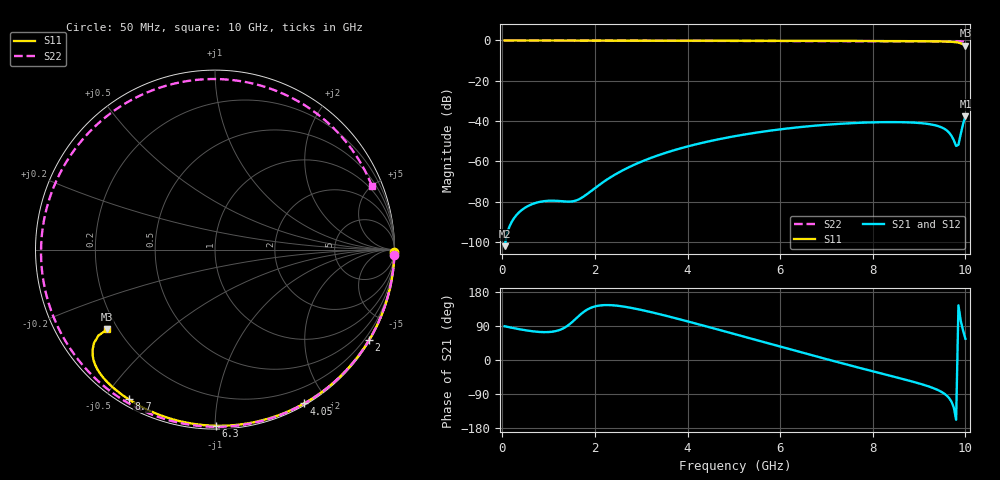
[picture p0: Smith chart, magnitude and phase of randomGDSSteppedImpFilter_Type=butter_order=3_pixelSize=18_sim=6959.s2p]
! freq	dB(S11)	phase(S11)	dB(S12)	phase(S12)
!  dB(S21)	phase(S21)	dB(S22)	phase(S22)
!S-par simulation data
#  GHz  S  DB  R 50
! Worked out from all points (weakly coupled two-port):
!   200 points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, 50 MHz to 10 GHz, reference 50 ohm
!   highest |S21| = -37.64 dB at 10 GHz (marker M1); lowest = -102.1 dB at 50 MHz (marker M2)
!   lowest |S11| = -2.5 dB at 10 GHz (marker M3), VSWR 6.88, Z = 8.04 - j16.1 ohm
!   |S11| at or under -10 dB: nowhere
!   |S22| runs from -0.5 to 0.0 dB; largest |S21 - S12| = 0
!   S11 on the Smith chart (normalised r, x): 50 MHz: open; 2 GHz: 0.03, -3.68; 4.05 GHz: 0.02, -1.74; 6.3 GHz: 0.02, -1.00; 8.7 GHz: 0.03, -0.58; 10 GHz: 0.16, -0.32
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0.05  -0.00 -0.8  -102.07 89.0  -102.07 89.0  -0.00 -1.8
0.85  -0.02 -13.0  -79.90 73.7  -79.90 73.7  -0.04 -29.3
1.5  -0.03 -22.9  -79.87 99.2  -79.87 99.2  -0.06 -51.2
1.75  -0.03 -26.7  -77.54 126.2  -77.54 126.2  -0.07 -59.5
2  -0.04 -30.4  -73.28 141.3  -73.28 141.3  -0.08 -67.6
2.65  -0.05 -40.0  -63.85 140.4  -63.85 140.4  -0.11 -88.5
3.4  -0.07 -50.8  -56.71 120.8  -56.71 120.8  -0.14 -111.8
4.05  -0.08 -59.9  -52.30 100.4  -52.30 100.4  -0.17 -131.7
5.05  -0.11 -73.5  -47.37 67.3  -47.37 67.3  -0.23 -162.4
5.7  -0.14 -82.1  -45.02 45.5  -45.02 45.5  -0.28 177.1
6.3  -0.16 -89.8  -43.30 25.5  -43.30 25.5  -0.32 157.4
6.7  -0.18 -94.9  -42.39 12.2  -42.39 12.2  -0.35 143.8
7.6  -0.24 -106.1  -40.97 -17.1  -40.97 -17.1  -0.41 111.7
8.35  -0.30 -115.5  -40.51 -40.8  -40.51 -40.8  -0.45 83.6
8.7  -0.33 -120.0  -40.60 -51.8  -40.60 -51.8  -0.46 70.2
9.2  -0.40 -126.9  -41.44 -69.4  -41.44 -69.4  -0.48 51.3
9.5  -0.49 -131.9  -43.28 -85.3  -43.28 -85.3  -0.49 40.0
9.65  -0.61 -135.0  -45.77 -100.7  -45.77 -100.7  -0.49 34.5
9.8  -0.90 -139.1  -52.36 -157.8  -52.36 -157.8  -0.50 29.1
9.85  -1.09 -140.7  -51.72 144.3  -51.72 144.3  -0.50 27.2
9.95  -1.87 -143.6  -41.45 78.0  -41.45 78.0  -0.50 23.7
10  -2.54 -143.5  -37.64 56.1  -37.64 56.1  -0.50 22.0
